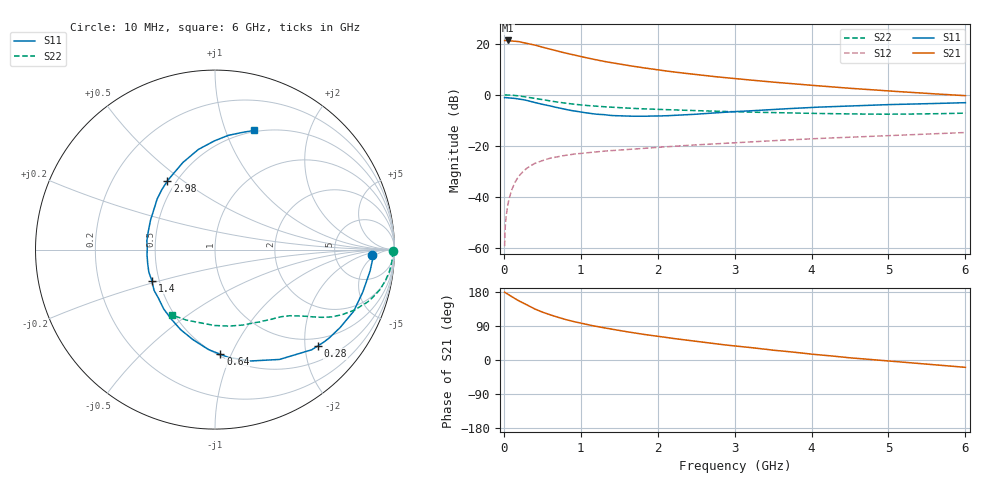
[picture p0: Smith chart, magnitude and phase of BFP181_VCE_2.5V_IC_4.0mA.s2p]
! Infineon Technologies  Discrete & RF Semiconductors
! BFP181
! VCE = 2.5 V,  IC =  4.0 mA
! Common Emitter S-Parameters:  Jan 2016
# GHz  S  MA  R  50
!  f  S11  S21  S12  S22
! GHz  MAG  ANG  MAG  ANG  MAG  ANG  MAG  ANG
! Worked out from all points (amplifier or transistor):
!   210 points, 10 MHz to 6 GHz, reference 50 ohm
!   highest |S21| = 21.2 dB at 50 MHz (marker M1)
!   |S21| within 3 dB of that: start of sweep to 551.1 MHz
!   unconditionally stable (mu >= 1): 1.795 GHz to end of sweep
!   at 185 MHz: K = 0.15, MSG = 26.5 dB, |S12| = -32.3 dB
!   at 1.52 GHz: K = 0.90, MSG = 16.7 dB, |S12| = -21.6 dB
!   at 6 GHz: K = 1.06, MAG = 5.7 dB, |S12| = -14.8 dB
!   S11 on the Smith chart (normalised r, x): 10 MHz: 14, -3; 280 MHz: 0.82, -2.28; 640 MHz: 0.51, -0.91; 1.4 GHz: 0.46, -0.19; 2.98 GHz: 0.45, +0.44; 6 GHz: 0.49, +1.26
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0.01  0.8746 -1.9  11.43 178.8  0.0011 78.6  0.9917 -0.6
0.02  0.8803 -3.3  11.45 177.9  0.0029 81.9  0.9905 -1.3
0.05  0.8722 -7.9  11.48 173.8  0.0068 87.3  0.989 -3.5
0.145  0.8462 -23.1  11.08 162.0  0.0194 76.8  0.9669 -9.9
0.2  0.8214 -31.9  10.86 155.6  0.0262 72.8  0.9467 -13.5
0.28  0.7849 -43.1  10.21 147.3  0.0346 66.9  0.9094 -17.8
0.4  0.7096 -59.6  9.353 134.9  0.0453 59.0  0.8487 -23.3
0.5  0.6518 -72.2  8.506 126.4  0.0515 53.5  0.7986 -26.9
0.64  0.5844 -87.0  7.488 116.9  0.0591 49.0  0.7401 -30.5
0.7  0.5587 -93.6  7.062 112.9  0.0617 47.2  0.7171 -31.7
0.8  0.517 -103.6  6.542 106.9  0.0654 44.2  0.685 -33.4
1.02  0.453 -123.7  5.469 96.1  0.0717 40.4  0.6276 -36.3
1.16  0.4242 -135.1  4.952 90.3  0.0755 38.7  0.6026 -37.9
1.4  0.392 -153.9  4.222 81.5  0.081 36.8  0.5699 -40.4
1.7  0.38 -175.2  3.557 71.3  0.0871 35.5  0.5388 -43.5
2.02  0.3846 166.0  3.024 62.1  0.0941 34.2  0.5166 -47.1
2.42  0.4085 146.2  2.555 51.3  0.1031 32.7  0.4942 -52.4
2.98  0.4652 124.8  2.084 37.5  0.1148 30.6  0.4657 -60.7
3.1  0.4752 121.1  2.004 35.1  0.1175 30.0  0.4606 -62.7
4.1  0.5726 97.5  1.487 13.7  0.1397 24.9  0.4301 -81.6
5.1  0.6455 82.2  1.159 -4.4  0.1605 19.9  0.4167 -103.4
6  0.6987 71.9  0.958 -19.4  0.1827 14.4  0.4366 -123.7
